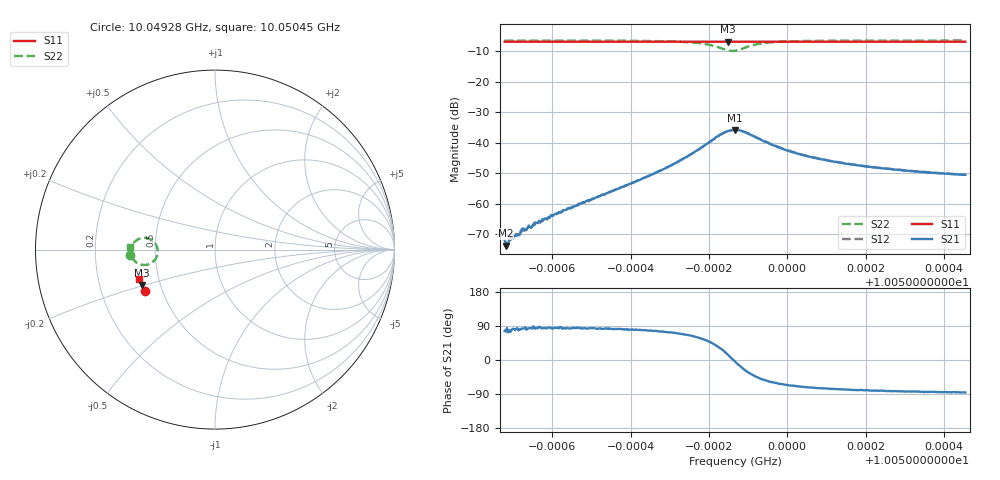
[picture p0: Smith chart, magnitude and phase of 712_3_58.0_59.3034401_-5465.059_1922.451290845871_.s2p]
#  HZ  S  RI  R  50.00
! Rohde & Schwarz Vector Network Analyzer
! Rohde-Schwarz,ZNB20-2Port,1311601062101988,3.16
! Created: UTC 3/21/2024, 1:22:14 AM
! freq[Hz]  re:S11  im:S11  re:S21  im:S21  re:S12  im:S12  re:S22  im:S22
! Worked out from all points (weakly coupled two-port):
!   401 points, 10.04928 GHz to 10.05045 GHz, reference 50 ohm
!   highest |S21| = -35.83 dB at 10.04987 GHz (marker M1); lowest = -73.8 dB at 10.04928 GHz (marker M2)
!   lowest |S11| = -6.9 dB at 10.04985 GHz (marker M3), VSWR 2.65, Z = 19.8 - j9.81 ohm
!   |S11| at or under -10 dB: nowhere
!   |S22| runs from -9.9 to -6.5 dB; largest |S21 - S12| = 0.0014
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1.0049279e10  -0.3907 -0.2318  5.58e-05 0.000242  3.13e-05 0.000197  -0.4739 -0.03
1.0049281e10  -0.3907 -0.2319  5.26e-05 0.000198  2.73e-05 0.000231  -0.474 -0.0295
1.0049287e10  -0.3909 -0.2314  6.52e-05 0.000211  2.49e-05 0.000245  -0.4739 -0.029
1.0049296e10  -0.3911 -0.231  5.27e-05 0.000272  2.7e-05 0.000284  -0.474 -0.0282
1.0049311e10  -0.3917 -0.23  3.17e-05 0.000301  -6.82e-06 0.000315  -0.4739 -0.0269
1.0049326e10  -0.3922 -0.2292  4.93e-05 0.000387  2.08e-05 0.000361  -0.4737 -0.0256
1.0049343e10  -0.3927 -0.2282  4.02e-05 0.000405  3.56e-05 0.000412  -0.4738 -0.0238
1.0049358e10  -0.3931 -0.2273  5.78e-05 0.000485  2.06e-05 0.00048  -0.4737 -0.0223
1.0049476e10  -0.3966 -0.2203  0.000111 0.00102  4.17e-05 0.00102  -0.4726 -0.00936
1.0049673e10  -0.4026 -0.2086  0.000862 0.0033  0.000656 0.00332  -0.4621 0.0244
1.004972e10  -0.4039 -0.2056  0.00162 0.00455  0.00134 0.0046  -0.4527 0.0383
1.0049781e10  -0.4054 -0.2016  0.00464 0.00696  0.0042 0.00716  -0.4203 0.061
1.004982e10  -0.406 -0.1991  0.00981 0.00754  0.00914 0.00805  -0.3707 0.0618
1.0049849e10  -0.4059 -0.1977  0.0151 0.0037  0.0146 0.00475  -0.3248 0.0198
1.0049867e10  -0.4063 -0.1973  0.0161 -0.00106  0.016 0.000223  -0.3204 -0.0256
1.0049899e10  -0.4074 -0.196  0.0122 -0.00761  0.0127 -0.00663  -0.3673 -0.0807
1.004994e10  -0.4089 -0.1936  0.00649 -0.00829  0.00719 -0.00801  -0.4234 -0.08
1.0049996e10  -0.4111 -0.1903  0.00315 -0.00687  0.00365 -0.00674  -0.4539 -0.0575
1.0050064e10  -0.413 -0.1861  0.0017 -0.00548  0.00206 -0.00542  -0.4664 -0.037
1.0050143e10  -0.4149 -0.1812  0.000999 -0.00448  0.00123 -0.00446  -0.4715 -0.0211
1.0050261e10  -0.4179 -0.1741  0.000526 -0.00368  0.000733 -0.00364  -0.4742 -0.0043
1.0050455e10  -0.4222 -0.1622  0.000222 -0.00295  0.00035 -0.00297  -0.475 0.0154
